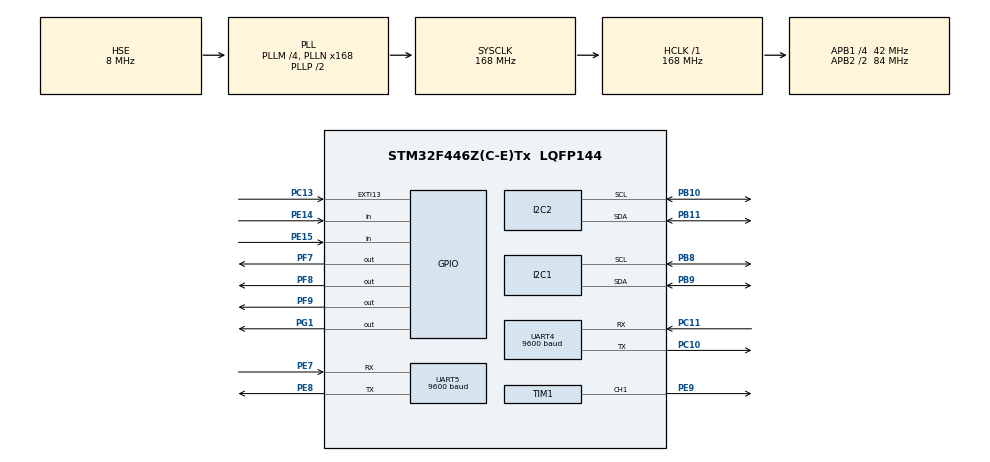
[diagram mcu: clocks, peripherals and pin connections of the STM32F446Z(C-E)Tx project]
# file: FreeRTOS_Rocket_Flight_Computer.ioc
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Dma.Request0=UART4_TX
Dma.Request1=UART5_RX
Dma.UART4_TX.0.Direction=DMA_MEMORY_TO_PERIPH
Dma.UART4_TX.0.FIFOMode=DMA_FIFOMODE_DISABLE
Dma.UART4_TX.0.Instance=DMA1_Stream4
Dma.UART4_TX.0.MemDataAlignment=DMA_MDATAALIGN_BYTE
Dma.UART4_TX.0.MemInc=DMA_MINC_ENABLE
Dma.UART4_TX.0.Mode=DMA_NORMAL
Dma.UART4_TX.0.PeriphDataAlignment=DMA_PDATAALIGN_BYTE
Dma.UART4_TX.0.PeriphInc=DMA_PINC_DISABLE
Dma.UART4_TX.0.Priority=DMA_PRIORITY_MEDIUM
Dma.UART5_RX.1.Direction=DMA_PERIPH_TO_MEMORY
Dma.UART5_RX.1.FIFOMode=DMA_FIFOMODE_DISABLE
Dma.UART5_RX.1.Instance=DMA1_Stream0
Dma.UART5_RX.1.MemDataAlignment=DMA_MDATAALIGN_BYTE
Dma.UART5_RX.1.MemInc=DMA_MINC_ENABLE
Dma.UART5_RX.1.Mode=DMA_NORMAL
Dma.UART5_RX.1.PeriphDataAlignment=DMA_PDATAALIGN_BYTE
Dma.UART5_RX.1.PeriphInc=DMA_PINC_DISABLE
Dma.UART5_RX.1.Priority=DMA_PRIORITY_MEDIUM
FREERTOS.Tasks01=defaultTask,24,128,StartDefaultTask,Default,NULL,Dynamic,NULL,NULL
FREERTOS.configUSE_NEWLIB_REENTRANT=1
IWDG.Prescaler=IWDG_PRESCALER_32
IWDG.Reload=2999
Mcu.Family=STM32F4
Mcu.Name=STM32F446Z(C-E)Tx
Mcu.Package=LQFP144
NVIC.DMA1_Stream0_IRQn=true\:5\:0\:false\:false\:true\:true\:false\:true\:true
NVIC.DMA1_Stream4_IRQn=true\:5\:0\:false\:false\:true\:true\:false\:true\:true
NVIC.EXTI15_10_IRQn=true\:5\:0\:false\:false\:true\:true\:true\:true\:true
NVIC.PriorityGroup=NVIC_PRIORITYGROUP_4
NVIC.TIM6_DAC_IRQn=true\:15\:0\:false\:false\:true\:false\:false\:true\:true
NVIC.TimeBase=TIM6_DAC_IRQn
NVIC.TimeBaseIP=TIM6
PB10.Mode=I2C
PB10.Signal=I2C2_SCL
PB11.Mode=I2C
PB11.Signal=I2C2_SDA
PB8.Mode=I2C
PB8.Signal=I2C1_SCL
PB9.Mode=I2C
PB9.Signal=I2C1_SDA
PC10.Mode=Asynchronous
PC10.Signal=UART4_TX
PC11.Mode=Asynchronous
PC11.Signal=UART4_RX
PC13.Signal=GPXTI13
PE14.Signal=GPIO_Input
PE15.Signal=GPIO_Input
PE7.Mode=Asynchronous
PE7.Signal=UART5_RX
PE8.Mode=Asynchronous
PE8.Signal=UART5_TX
PE9.Signal=S_TIM1_CH1
PF7.Signal=GPIO_Output
PF8.Signal=GPIO_Output
PF9.Signal=GPIO_Output
PG1.Signal=GPIO_Output
PH0-OSC_IN.Mode=HSE-External-Oscillator
PH0-OSC_IN.Signal=RCC_OSC_IN
PH1-OSC_OUT.Mode=HSE-External-Oscillator
PH1-OSC_OUT.Signal=RCC_OSC_OUT
ProjectManager.HeapSize=0x200
ProjectManager.StackSize=0x400
ProjectManager.TargetToolchain=STM32CubeIDE
RCC.AHBFreq_Value=168000000
RCC.APB1CLKDivider=RCC_HCLK_DIV4
RCC.APB1Freq_Value=42000000
RCC.APB1TimFreq_Value=84000000
RCC.APB2CLKDivider=RCC_HCLK_DIV2
RCC.APB2Freq_Value=84000000
RCC.APB2TimFreq_Value=168000000
RCC.CortexFreq_Value=168000000
RCC.HCLKFreq_Value=168000000
RCC.HSE_VALUE=8000000
RCC.PLLM=4
RCC.PLLN=168
RCC.PLLSourceVirtual=RCC_PLLSOURCE_HSE
RCC.SYSCLKFreq_VALUE=168000000
RCC.SYSCLKSource=RCC_SYSCLKSOURCE_PLLCLK
RCC.USBFreq_Value=168000000
RCC.VCOOutputFreq_Value=336000000
SH.S_TIM1_CH1.0=TIM1_CH1,PWM Generation1 CH1
TIM1.Channel-PWM\ Generation1\ CH1=TIM_CHANNEL_1
TIM1.Period=19999
TIM1.Prescaler=167
UART4.BaudRate=9600
UART4.VirtualMode=Asynchronous
UART5.BaudRate=9600
UART5.VirtualMode=Asynchronous
VP_FREERTOS_VS_CMSIS_V2.Mode=CMSIS_V2
VP_IWDG_VS_IWDG.Mode=IWDG_Activate
VP_SYS_VS_tim6.Mode=TIM6
board=custom

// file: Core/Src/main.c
/* USER CODE BEGIN Header */
/**
  ******************************************************************************
  * @file           : main.c
  * @brief          : Main program body
  ******************************************************************************
  * @attention
  *
  * Copyright (c) 2026 STMicroelectronics.
  * All rights reserved.
  *
  * This software is licensed under terms that can be found in the LICENSE file
  * in the root directory of this software component.
  * If no LICENSE file comes with this software, it is provided AS-IS.
  *
  ******************************************************************************
  */
/* USER CODE END Header */
#include "main.h"
#include "cmsis_os.h"

/* USER CODE BEGIN Includes */
#include "FreeRTOS.h"
#include "stdio.h"
#include "task.h"
#include "queue.h"
#include "semphr.h"
#include "string.h"
/* USER CODE END Includes */

/* USER CODE BEGIN PD */

// -----------------MPU6050------------------
#define MPU6050_ADDRESS		0x68<<1

#define MPU6050_CONFIG		0x1A
#define GYRO_CONFIG			0x1B
#define ACCEL_CONFIG		0x1C
#define ACCEL_MSB			0x3B	//	Read until 0x40 -> 48 bits for ACCEL, 6 bytes
#define TEMP_MSB			0x41	//	Read until 0x41 -> 16 bits for Temp
#define GYRO_MSB			0x43
#define RESET_ADDRESS		0x68
#define SMPRT_DIV			0x19
#define PWR_MGMT_1			0x6B

// -----------------BME280------------------
#define BME280_I2C_ADDRESS   0x76 << 1  // BME280 I2C address (SDO = GND => 0x76, SDO = VCC => 0x77)
#define BME280_REG_ID        0xD0
#define BME280_REG_RESET     0xE0
#define BME280_REG_CTRL_HUM  0xF2
#define BME280_REG_STATUS    0xF3
#define BME280_REG_CTRL_MEAS 0xF4
#define BME280_REG_CONFIG    0xF5
#define BME280_REG_PRESS_MSB 0xF7
#define BME280_REG_TEMP_MSB  0xFA
#define BME280_REG_HUM_MSB   0xFD

#define BME280_CALIB_DATA_START  0x88
#define BME280_CALIB_DATA_END    0xA1
// Calibration Rgister Adresses
#define BME280_CALIB_DATA_START  0x88
#define BME280_CALIB_DATA_END    0xA1
#define BME280_CALIB_HUM_START   0xE1

#define LORA_HEADER 0xAA
#define LORA_FOOTER 0xFF

/* USER CODE END PD */

I2C_HandleTypeDef hi2c1;
I2C_HandleTypeDef hi2c2;

IWDG_HandleTypeDef hiwdg;

TIM_HandleTypeDef htim1;

UART_HandleTypeDef huart4;
UART_HandleTypeDef huart5;
DMA_HandleTypeDef hdma_uart4_tx;
DMA_HandleTypeDef hdma_uart5_rx;

/* Definitions for defaultTask */
/*osThreadId_t defaultTaskHandle;
const osThreadAttr_t defaultTask_attributes = {
  .name = "defaultTask",
  .stack_size = 128 * 4,
  .priority = (osPriority_t) osPriorityNormal,
};*/
/* USER CODE BEGIN PV */

// -----------------MPU6050------------------
uint8_t config = 0x00;
uint8_t smprtDIV = 0x00;
uint8_t gyroConfig = 0x18;
uint8_t accelConfig = 0x18;

int16_t accelX = 0x00;
int16_t accelY = 0x00;
int16_t accelZ = 0x00;

int16_t gyroX = 0x00;
int16_t gyroY = 0x00;
int16_t gyroZ = 0x00;

uint8_t pwrMgnt1 = 0x00;

uint8_t reset = 0x07;
uint8_t address = 0;

typedef struct {
	float aX;
	float aY;
	float aZ;

	float gX;
	float gY;
	float gZ;
} IMUData_t;

// for debug live expression
float gyX;
float gyY;
float gyZ;

QueueHandle_t xIMUQueue;
//int counter = 0;
// -----------------BME280------------------
uint16_t dig_T1;
int16_t dig_T2, dig_T3;
uint16_t dig_P1;
int16_t dig_P2, dig_P3, dig_P4, dig_P5, dig_P6, dig_P7, dig_P8, dig_P9;
uint8_t dig_H1, dig_H3;
int16_t dig_H2, dig_H4, dig_H5;
int8_t dig_H6;

typedef struct {
	  float temperature, pressure;
	  uint32_t humidity;
} BMEData_t;

// for debug live expression
float temp, press;
uint32_t hum;

QueueHandle_t xBMEQueue;

uint8_t isQueueCreated;
uint8_t isControlCreated;
int bmeAddress;
HAL_StatusTypeDef status;

// -----------------LoRA Communication------------------
uint8_t setTCmd[6] = {0xC0, 0x00, 0x10, 0x1A, 0x07, 0x44};
uint8_t setRCmd[6] = {0xC0, 0x00, 0x10, 0x1A, 0x07, 0x44};

typedef struct {
	float pressure;
	float gX;
	float gY;
	float gZ;

}LoRaBuffer_t;

__attribute__((aligned(4))) LoRaBuffer_t dmaTxLoraBuffer;
__attribute__((aligned(4))) LoRaBuffer_t dmaRxLoraBuffer;

HAL_StatusTypeDef dmaRxStatus;
QueueHandle_t xLoraQueue;

float LoraPress;
float LoraGx;
float LoraGy;
float LoraGz;
BaseType_t LoraStatus;
BaseType_t LoraSendStatus;
int counter = 0;
int callbackCount = 0;

// -----------------Servo Motor Run Test------------------
TaskHandle_t servoTaskHandle;

// -----------------IWDG Task ------------------
uint8_t taskIWGD;
int refreshCount = 0;
/* USER CODE END PV */

void SystemClock_Config(void);
static void MX_GPIO_Init(void);
static void MX_DMA_Init(void);
static void MX_I2C1_Init(void);
static void MX_I2C2_Init(void);
static void MX_TIM1_Init(void);
static void MX_UART4_Init(void);
static void MX_UART5_Init(void);
static void MX_IWDG_Init(void);
void StartDefaultTask(void *argument);

/* USER CODE BEGIN PFP */
// -----------------MPU6050------------------
void MPU6050_Init(void);
void readAccelData(IMUData_t *data);
void readGyroData(IMUData_t *data);
void vIMUTask(void *pvParameters);

// -----------------BME280------------------
void BME280_Init();
void BME280_Read_Calibration();
void BME280_Read_Data(BMEData_t *bmeData);
int32_t BME280_Compensate_Temperature(int32_t adc_T);
uint32_t BME280_Compensate_Pressure(int32_t adc_P);
uint32_t BME280_Compensate_Humidity(int32_t adc_H);
void vBMETask(void *pvParameters);
void findBME(void);

// -----------------Motor------------------
void ServoInit(void);
void ServoStop(void);
void ServoRun(void);

// -----------------LoRA Communication------------------
void SleepTMs(void);
void SleepRMs(void);
void SetModuleParameters(void);
void WakeUpTMs(void);
void WakeUpRMs(void);
void WaitForAUX(GPIO_TypeDef *port, uint16_t pin);
void SendData(void);
void ReveiveData(void);
// -----------------Control Task------------------
void vControlTask(void *pvParameters);

// -----------------Telemetry Task------------------
void vTelemetryTTask(void *pvParameters);
void vTelemetryRTask(void *pvParameters);
void HAL_UART_RxCpltCallback(UART_HandleTypeDef *huart);

// -----------------EXTI Callback------------------
void HAL_GPIO_EXTI_Callback(uint16_t GPIO_Pin);
void vServoTask(void *pvParameters);
void vIWDGTask(void *pvParameters);

/* USER CODE END PFP */

int main(void)
{

  /* MCU Configuration--------------------------------------------------------*/

  /* Reset of all peripherals, Initializes the Flash interface and the Systick. */
  HAL_Init();

  /* Configure the system clock */
  SystemClock_Config();

  /* Initialize all configured peripherals */
  MX_GPIO_Init();
  MX_DMA_Init();
  MX_I2C1_Init();
  MX_I2C2_Init();
  MX_TIM1_Init();
  MX_UART4_Init();
  MX_UART5_Init();
  MX_IWDG_Init();
  /* USER CODE BEGIN 2 */
  SleepTMs();
  SleepRMs();
  //SetModuleParameters();
  WakeUpTMs();
  WakeUpRMs();
  findBME();
  HAL_Delay(100);
  BME280_Read_Calibration();
  BME280_Init();
  MPU6050_Init();
  ServoInit();

  xIMUQueue = xQueueCreate(5, sizeof(IMUData_t));
  xBMEQueue = xQueueCreate(5, sizeof(BMEData_t));
  xLoraQueue = xQueueCreate(1, sizeof(LoRaBuffer_t));

  if( xIMUQueue != NULL && xBMEQueue != NULL){
	  isQueueCreated = 1;
	  xTaskCreate(vIMUTask, "ImuTask", 1024, NULL, 3, NULL);
	  xTaskCreate(vBMETask, "BmeTask", 1024, NULL, 2, NULL);
	  xTaskCreate(vControlTask, "ControlTask", 1024, NULL, 4, NULL);
	  xTaskCreate(vTelemetryTTask, "TelemetryTTask", 1024, NULL, 2, NULL);
	  xTaskCreate(vTelemetryRTask, "TelemetryRTask", 1024, NULL, 3, NULL);
	  xTaskCreate(vServoTask, "ServoTestTask", 1024, NULL, 5, &servoTaskHandle);
	  xTaskCreate(vIWDGTask, "IWDGTask", 1024, NULL, 2, NULL);
	  HAL_IWDG_Refresh(&hiwdg);
	  vTaskStartScheduler();
  }else{
	  isQueueCreated = 0;
  }

  for(;;);

  /* USER CODE END 2 */

  /* Init scheduler */
  //osKernelInitialize();

  /* Create the thread(s) */
  /* creation of defaultTask */
  //defaultTaskHandle = osThreadNew(StartDefaultTask, NULL, &defaultTask_attributes);

  /* Start scheduler */
  //osKernelStart();

  /* We should never get here as control is now taken by the scheduler */

  /* Infinite loop */
  while (1)
  {

  }
}

void SystemClock_Config(void)
{
  RCC_OscInitTypeDef RCC_OscInitStruct = {0};
  RCC_ClkInitTypeDef RCC_ClkInitStruct = {0};

  /** Configure the main internal regulator output voltage
  */
  __HAL_RCC_PWR_CLK_ENABLE();
  __HAL_PWR_VOLTAGESCALING_CONFIG(PWR_REGULATOR_VOLTAGE_SCALE1);

  /** Initializes the RCC Oscillators according to the specified parameters
  * in the RCC_OscInitTypeDef structure.
  */
  RCC_OscInitStruct.OscillatorType = RCC_OSCILLATORTYPE_LSI|RCC_OSCILLATORTYPE_HSE;
  RCC_OscInitStruct.HSEState = RCC_HSE_ON;
  RCC_OscInitStruct.LSIState = RCC_LSI_ON;
  RCC_OscInitStruct.PLL.PLLState = RCC_PLL_ON;
  RCC_OscInitStruct.PLL.PLLSource = RCC_PLLSOURCE_HSE;
  RCC_OscInitStruct.PLL.PLLM = 4;
  RCC_OscInitStruct.PLL.PLLN = 168;
  RCC_OscInitStruct.PLL.PLLP = RCC_PLLP_DIV2;
  RCC_OscInitStruct.PLL.PLLQ = 2;
  RCC_OscInitStruct.PLL.PLLR = 2;
  if (HAL_RCC_OscConfig(&RCC_OscInitStruct) != HAL_OK)
  {
    Error_Handler();
  }

  /** Initializes the CPU, AHB and APB buses clocks
  */
  RCC_ClkInitStruct.ClockType = RCC_CLOCKTYPE_HCLK|RCC_CLOCKTYPE_SYSCLK
                              |RCC_CLOCKTYPE_PCLK1|RCC_CLOCKTYPE_PCLK2;
  RCC_ClkInitStruct.SYSCLKSource = RCC_SYSCLKSOURCE_PLLCLK;
  RCC_ClkInitStruct.AHBCLKDivider = RCC_SYSCLK_DIV1;
  RCC_ClkInitStruct.APB1CLKDivider = RCC_HCLK_DIV4;
  RCC_ClkInitStruct.APB2CLKDivider = RCC_HCLK_DIV2;

  if (HAL_RCC_ClockConfig(&RCC_ClkInitStruct, FLASH_LATENCY_5) != HAL_OK)
  {
    Error_Handler();
  }
}

static void MX_I2C1_Init(void)
{

  hi2c1.Instance = I2C1;
  hi2c1.Init.ClockSpeed = 100000;
  hi2c1.Init.DutyCycle = I2C_DUTYCYCLE_2;
  hi2c1.Init.OwnAddress1 = 0;
  hi2c1.Init.AddressingMode = I2C_ADDRESSINGMODE_7BIT;
  hi2c1.Init.DualAddressMode = I2C_DUALADDRESS_DISABLE;
  hi2c1.Init.OwnAddress2 = 0;
  hi2c1.Init.GeneralCallMode = I2C_GENERALCALL_DISABLE;
  hi2c1.Init.NoStretchMode = I2C_NOSTRETCH_DISABLE;
  if (HAL_I2C_Init(&hi2c1) != HAL_OK)
  {
    Error_Handler();
  }

}

static void MX_I2C2_Init(void)
{

  hi2c2.Instance = I2C2;
  hi2c2.Init.ClockSpeed = 100000;
  hi2c2.Init.DutyCycle = I2C_DUTYCYCLE_2;
  hi2c2.Init.OwnAddress1 = 0;
  hi2c2.Init.AddressingMode = I2C_ADDRESSINGMODE_7BIT;
  hi2c2.Init.DualAddressMode = I2C_DUALADDRESS_DISABLE;
  hi2c2.Init.OwnAddress2 = 0;
  hi2c2.Init.GeneralCallMode = I2C_GENERALCALL_DISABLE;
  hi2c2.Init.NoStretchMode = I2C_NOSTRETCH_DISABLE;
  if (HAL_I2C_Init(&hi2c2) != HAL_OK)
  {
    Error_Handler();
  }

}

static void MX_IWDG_Init(void)
{

  hiwdg.Instance = IWDG;
  hiwdg.Init.Prescaler = IWDG_PRESCALER_32;
  hiwdg.Init.Reload = 2999;
  if (HAL_IWDG_Init(&hiwdg) != HAL_OK)
  {
    Error_Handler();
  }

}

static void MX_TIM1_Init(void)
{

  TIM_MasterConfigTypeDef sMasterConfig = {0};
  TIM_OC_InitTypeDef sConfigOC = {0};
  TIM_BreakDeadTimeConfigTypeDef sBreakDeadTimeConfig = {0};

  htim1.Instance = TIM1;
  htim1.Init.Prescaler = 167;
  htim1.Init.CounterMode = TIM_COUNTERMODE_UP;
  htim1.Init.Period = 19999;
  htim1.Init.ClockDivision = TIM_CLOCKDIVISION_DIV1;
  htim1.Init.RepetitionCounter = 0;
  htim1.Init.AutoReloadPreload = TIM_AUTORELOAD_PRELOAD_DISABLE;
  if (HAL_TIM_PWM_Init(&htim1) != HAL_OK)
  {
    Error_Handler();
  }
  sMasterConfig.MasterOutputTrigger = TIM_TRGO_RESET;
  sMasterConfig.MasterSlaveMode = TIM_MASTERSLAVEMODE_DISABLE;
  if (HAL_TIMEx_MasterConfigSynchronization(&htim1, &sMasterConfig) != HAL_OK)
  {
    Error_Handler();
  }
  sConfigOC.OCMode = TIM_OCMODE_PWM1;
  sConfigOC.Pulse = 0;
  sConfigOC.OCPolarity = TIM_OCPOLARITY_HIGH;
  sConfigOC.OCNPolarity = TIM_OCNPOLARITY_HIGH;
  sConfigOC.OCFastMode = TIM_OCFAST_DISABLE;
  sConfigOC.OCIdleState = TIM_OCIDLESTATE_RESET;
  sConfigOC.OCNIdleState = TIM_OCNIDLESTATE_RESET;
  if (HAL_TIM_PWM_ConfigChannel(&htim1, &sConfigOC, TIM_CHANNEL_1) != HAL_OK)
  {
    Error_Handler();
  }
  sBreakDeadTimeConfig.OffStateRunMode = TIM_OSSR_DISABLE;
  sBreakDeadTimeConfig.OffStateIDLEMode = TIM_OSSI_DISABLE;
  sBreakDeadTimeConfig.LockLevel = TIM_LOCKLEVEL_OFF;
  sBreakDeadTimeConfig.DeadTime = 0;
  sBreakDeadTimeConfig.BreakState = TIM_BREAK_DISABLE;
  sBreakDeadTimeConfig.BreakPolarity = TIM_BREAKPOLARITY_HIGH;
  sBreakDeadTimeConfig.AutomaticOutput = TIM_AUTOMATICOUTPUT_DISABLE;
  if (HAL_TIMEx_ConfigBreakDeadTime(&htim1, &sBreakDeadTimeConfig) != HAL_OK)
  {
    Error_Handler();
  }
  HAL_TIM_MspPostInit(&htim1);

}

static void MX_UART4_Init(void)
{

  huart4.Instance = UART4;
  huart4.Init.BaudRate = 9600;
  huart4.Init.WordLength = UART_WORDLENGTH_8B;
  huart4.Init.StopBits = UART_STOPBITS_1;
  huart4.Init.Parity = UART_PARITY_NONE;
  huart4.Init.Mode = UART_MODE_TX_RX;
  huart4.Init.HwFlowCtl = UART_HWCONTROL_NONE;
  huart4.Init.OverSampling = UART_OVERSAMPLING_16;
  if (HAL_UART_Init(&huart4) != HAL_OK)
  {
    Error_Handler();
  }

}

static void MX_UART5_Init(void)
{

  huart5.Instance = UART5;
  huart5.Init.BaudRate = 9600;
  huart5.Init.WordLength = UART_WORDLENGTH_8B;
  huart5.Init.StopBits = UART_STOPBITS_1;
  huart5.Init.Parity = UART_PARITY_NONE;
  huart5.Init.Mode = UART_MODE_TX_RX;
  huart5.Init.HwFlowCtl = UART_HWCONTROL_NONE;
  huart5.Init.OverSampling = UART_OVERSAMPLING_16;
  if (HAL_UART_Init(&huart5) != HAL_OK)
  {
    Error_Handler();
  }

}

static void MX_DMA_Init(void)
{

  /* DMA controller clock enable */
  __HAL_RCC_DMA1_CLK_ENABLE();

  /* DMA interrupt init */
  /* DMA1_Stream0_IRQn interrupt configuration */
  HAL_NVIC_SetPriority(DMA1_Stream0_IRQn, 5, 0);
  HAL_NVIC_EnableIRQ(DMA1_Stream0_IRQn);
  /* DMA1_Stream4_IRQn interrupt configuration */
  HAL_NVIC_SetPriority(DMA1_Stream4_IRQn, 5, 0);
  HAL_NVIC_EnableIRQ(DMA1_Stream4_IRQn);

}

static void MX_GPIO_Init(void)
{
  GPIO_InitTypeDef GPIO_InitStruct = {0};

  /* GPIO Ports Clock Enable */
  __HAL_RCC_GPIOC_CLK_ENABLE();
  __HAL_RCC_GPIOF_CLK_ENABLE();
  __HAL_RCC_GPIOH_CLK_ENABLE();
  __HAL_RCC_GPIOG_CLK_ENABLE();
  __HAL_RCC_GPIOE_CLK_ENABLE();
  __HAL_RCC_GPIOB_CLK_ENABLE();

  /*Configure GPIO pin Output Level */
  HAL_GPIO_WritePin(GPIOF, GPIO_PIN_7|GPIO_PIN_8|GPIO_PIN_9, GPIO_PIN_RESET);

  /*Configure GPIO pin Output Level */
  HAL_GPIO_WritePin(GPIOG, GPIO_PIN_1, GPIO_PIN_RESET);

  /*Configure GPIO pin : PC13 */
  GPIO_InitStruct.Pin = GPIO_PIN_13;
  GPIO_InitStruct.Mode = GPIO_MODE_IT_RISING;
  GPIO_InitStruct.Pull = GPIO_NOPULL;
  HAL_GPIO_Init(GPIOC, &GPIO_InitStruct);

  /*Configure GPIO pins : PF7 PF8 PF9 */
  GPIO_InitStruct.Pin = GPIO_PIN_7|GPIO_PIN_8|GPIO_PIN_9;
  GPIO_InitStruct.Mode = GPIO_MODE_OUTPUT_PP;
  GPIO_InitStruct.Pull = GPIO_NOPULL;
  GPIO_InitStruct.Speed = GPIO_SPEED_FREQ_LOW;
  HAL_GPIO_Init(GPIOF, &GPIO_InitStruct);

  /*Configure GPIO pin : PG1 */
  GPIO_InitStruct.Pin = GPIO_PIN_1;
  GPIO_InitStruct.Mode = GPIO_MODE_OUTPUT_PP;
  GPIO_InitStruct.Pull = GPIO_NOPULL;
  GPIO_InitStruct.Speed = GPIO_SPEED_FREQ_LOW;
  HAL_GPIO_Init(GPIOG, &GPIO_InitStruct);

  /*Configure GPIO pins : PE14 PE15 */
  GPIO_InitStruct.Pin = GPIO_PIN_14|GPIO_PIN_15;
  GPIO_InitStruct.Mode = GPIO_MODE_INPUT;
  GPIO_InitStruct.Pull = GPIO_NOPULL;
  HAL_GPIO_Init(GPIOE, &GPIO_InitStruct);

  /* EXTI interrupt init*/
  HAL_NVIC_SetPriority(EXTI15_10_IRQn, 5, 0);
  HAL_NVIC_EnableIRQ(EXTI15_10_IRQn);

}

/* USER CODE BEGIN 4 */

// -----------------MPU6050------------------

void MPU6050_Init(void){

	HAL_I2C_Mem_Write(&hi2c1, MPU6050_ADDRESS, PWR_MGMT_1, 1, &pwrMgnt1, 1, HAL_MAX_DELAY);

	HAL_I2C_Mem_Write(&hi2c1, MPU6050_ADDRESS, RESET_ADDRESS, 1, &reset, 1, HAL_MAX_DELAY);

	HAL_I2C_Mem_Write(&hi2c1, MPU6050_ADDRESS, SMPRT_DIV, 1, &smprtDIV, 1, HAL_MAX_DELAY);

	HAL_I2C_Mem_Write(&hi2c1, MPU6050_ADDRESS, MPU6050_CONFIG, 1, &config, 1, HAL_MAX_DELAY);

	HAL_I2C_Mem_Write(&hi2c1, MPU6050_ADDRESS, ACCEL_CONFIG, 1, &accelConfig, 1, HAL_MAX_DELAY);

	HAL_I2C_Mem_Write(&hi2c1, MPU6050_ADDRESS, GYRO_CONFIG, 1, &gyroConfig, 1, HAL_MAX_DELAY);

}

void readAccelData(IMUData_t *data){
	uint8_t accelData[6];

	HAL_I2C_Mem_Read(&hi2c1, MPU6050_ADDRESS, ACCEL_MSB, 1, accelData, 6, HAL_MAX_DELAY);

	accelX = ((int16_t)accelData[0] << 8) | (int16_t)accelData[1];
	accelY = ((int16_t)accelData[2] << 8) | (int16_t)accelData[3];
	accelZ = ((int16_t)accelData[4] << 8) | (int16_t)accelData[5];

	data->aX = (float)accelX/2048.0;
	data->aY = (float)accelY/2048.0;
	data->aZ = (float)accelZ/2048.0;

}

void readGyroData(IMUData_t *data){
	uint8_t gyroData[6];

	HAL_I2C_Mem_Read(&hi2c1, MPU6050_ADDRESS, GYRO_MSB, 1, gyroData, 6, HAL_MAX_DELAY);

	gyroX = ((int16_t)gyroData[0] << 8) | (int16_t)gyroData[1];
	gyroY = ((int16_t)gyroData[2] << 8) | (int16_t)gyroData[3];
	gyroZ = ((int16_t)gyroData[4] << 8) | (int16_t)gyroData[5];

	data->gX = (float)gyroX/16.4;
	data->gY = (float)gyroY/16.4;
	data->gZ = (float)gyroZ/16.4;

}

void vIMUTask(void *pvParameters){
	TickType_t lastWakeTime = xTaskGetTickCount();
	IMUData_t data;
	BaseType_t xStatus;

	for(;;){
		readAccelData(&data);
		readGyroData(&data);
		xStatus = xQueueSend(xIMUQueue, &data, 50);

		if(xStatus == pdPASS){
			// I turn on led to warning
			taskIWGD |= 0x01;
			vTaskDelayUntil(&lastWakeTime, pdMS_TO_TICKS(50));
		}
	}

}

// -----------------BME280------------------
void BME280_Init() {
    uint8_t id;
    HAL_I2C_Mem_Read(&hi2c2, BME280_I2C_ADDRESS, BME280_REG_ID, 1, &id, 1, HAL_MAX_DELAY);
    if (id != 0x60) {
        printf("BME280 Could not find!\n");
    }

    uint8_t reset_cmd = 0xB6;
    HAL_I2C_Mem_Write(&hi2c2, BME280_I2C_ADDRESS, BME280_REG_RESET, 1, &reset_cmd, 1, HAL_MAX_DELAY);
    HAL_Delay(100);

    uint8_t filter = 0xA4;
    HAL_I2C_Mem_Write(&hi2c2, BME280_I2C_ADDRESS, BME280_REG_CONFIG, 1, &filter, 1, HAL_MAX_DELAY);

    BME280_Read_Calibration();
    HAL_Delay(100);
    uint8_t ctrl_hum = 0x01;
    HAL_I2C_Mem_Write(&hi2c2, BME280_I2C_ADDRESS, BME280_REG_CTRL_HUM, 1, &ctrl_hum, 1, HAL_MAX_DELAY);

    uint8_t ctrl_meas = 0x67;
    HAL_I2C_Mem_Write(&hi2c2, BME280_I2C_ADDRESS, BME280_REG_CTRL_MEAS, 1, &ctrl_meas, 1, HAL_MAX_DELAY);
}

void BME280_Read_Calibration() {
    uint8_t calib_data[26];
    status=HAL_I2C_Mem_Read(&hi2c2, BME280_I2C_ADDRESS, BME280_CALIB_DATA_START, 1, calib_data, 26, HAL_MAX_DELAY);

    if(status != HAL_OK){

        return;
    }
    dig_T1 = (calib_data[1] << 8) | calib_data[0];
    dig_T2 = (calib_data[3] << 8) | calib_data[2];
    dig_T3 = (calib_data[5] << 8) | calib_data[4];

    dig_P1 = (calib_data[7] << 8) | calib_data[6];
    dig_P2 = (calib_data[9] << 8) | calib_data[8];
    dig_P3 = (calib_data[11] << 8) | calib_data[10];
    dig_P4 = (calib_data[13] << 8) | calib_data[12];
    dig_P5 = (calib_data[15] << 8) | calib_data[14];
    dig_P6 = (calib_data[17] << 8) | calib_data[16];
    dig_P7 = (calib_data[19] << 8) | calib_data[18];
    dig_P8 = (calib_data[21] << 8) | calib_data[20];
    dig_P9 = (calib_data[23] << 8) | calib_data[22];

    uint8_t hum_data[7];
    HAL_I2C_Mem_Read(&hi2c2, BME280_I2C_ADDRESS, BME280_CALIB_HUM_START, 1, hum_data, 7, HAL_MAX_DELAY);

    dig_H1 = hum_data[0];
    dig_H2 = (hum_data[2] << 8) | hum_data[1];
    dig_H3 = hum_data[3];
    dig_H4 = (hum_data[4] << 4) | (hum_data[5] & 0x0F);
    dig_H5 = (hum_data[6] << 4) | (hum_data[5] >> 4);
    dig_H6 = hum_data[6];
}

void BME280_Read_Data(BMEData_t *bmeData) {
    uint8_t data[8];
    HAL_I2C_Mem_Read(&hi2c2, BME280_I2C_ADDRESS, BME280_REG_PRESS_MSB, 1, data, 8, HAL_MAX_DELAY);

    int32_t adc_P = ((uint32_t)data[0] << 12) | ((uint32_t)data[1] << 4) | ((uint32_t)data[2] >> 4);
    int32_t adc_T = ((uint32_t)data[3] << 12) | ((uint32_t)data[4] << 4) | ((uint32_t)data[5] >> 4);
    int32_t adc_H = ((uint32_t)data[6] << 8) | (uint32_t)data[7];

    bmeData->temperature = (float)BME280_Compensate_Temperature(adc_T) / 100.0f;
    bmeData->pressure = (float)BME280_Compensate_Pressure(adc_P) / 256.0f / 100.0f;
    bmeData->humidity = BME280_Compensate_Humidity(adc_H);

}

int32_t BME280_Compensate_Temperature(int32_t adc_T) {
    int32_t var1, var2, T;
    var1 = ((((adc_T >> 3) - ((int32_t)dig_T1 << 1))) * ((int32_t)dig_T2)) >> 11;
    var2 = (((((adc_T >> 4) - ((int32_t)dig_T1)) * ((adc_T >> 4) - ((int32_t)dig_T1))) >> 12) * ((int32_t)dig_T3)) >> 14;
    T = (((var1 + var2) * 5) + 128) >> 8;
    return T;
}

uint32_t BME280_Compensate_Pressure(int32_t adc_P) {
    int64_t var1, var2, p;
    var1 = ((int64_t)adc_P) - 128000;
    var2 = var1 * var1 * (int64_t)dig_P6;
    var2 = var2 + ((var1 * (int64_t)dig_P5) << 17);
    var2 = var2 + (((int64_t)dig_P4) << 35);
    var1 = ((var1 * var1 * (int64_t)dig_P3) >> 8) + ((var1 * (int64_t)dig_P2) << 12);
    var1 = (((((int64_t)1) << 47) + var1) * ((int64_t)dig_P1)) >> 33;
    if (var1 == 0) return 0;
    p = 1048576 - adc_P;
    p = (((p << 31) - var2) * 3125) / var1;
    var1 = (((int64_t)dig_P9) * (p >> 13) * (p >> 13)) >> 25;
    var2 = (((int64_t)dig_P8) * p) >> 19;
    p = ((p + var1 + var2) >> 8) + (((int64_t)dig_P7) << 4);
    return (uint32_t)p;
}

uint32_t BME280_Compensate_Humidity(int32_t adc_H) {
    return adc_H;
}

void vBMETask(void *pvParameters){
	TickType_t lastWakeTime = xTaskGetTickCount();
	BMEData_t data;
	BaseType_t xStatus;

	for(;;){
		BME280_Read_Data(&data);
		xStatus = xQueueSend(xBMEQueue, &data, 0);

		if(xStatus == pdPASS){
			// I turn on led to warning
			taskIWGD |= 0x02;
			vTaskDelayUntil(&lastWakeTime, pdMS_TO_TICKS(57));
		}
	}
}

void findBME(void){
    for(int i = 0; i <= 255; i++){
        if(HAL_I2C_IsDeviceReady(&hi2c2, i, 1, 10) == HAL_OK){
            bmeAddress = i;
            HAL_Delay(50);
        }
    }
}

// -----------------Motor-----------------

void ServoInit(void){
	HAL_TIM_PWM_Start(&htim1, TIM_CHANNEL_1);
}

void ServoStop(void){
	TIM1->CCR1 = 1500;
}

void ServoRun(void){
	TIM1->CCR1 = 2000;
}

// -----------------Control Task------------------
void vControlTask(void *pvParameters){
	TickType_t lastWakeTime = xTaskGetTickCount();
	BaseType_t xImuStatus;
	BaseType_t xBmeStatus;
	IMUData_t imuData;
	BMEData_t bmeData;
	LoRaBuffer_t loraBuffer;
	float prevPressure = 0;
	isControlCreated=0;

	for(;;){
		xImuStatus = xQueueReceive(xIMUQueue, &imuData, 100);
		xBmeStatus = xQueueReceive(xBMEQueue, &bmeData, 200);
		isControlCreated=2;

		if(xImuStatus && xBmeStatus){
			gyX = imuData.gX;
			gyY = imuData.gY;
			gyZ = imuData.gZ;

			temp = bmeData.temperature;
			press = bmeData.pressure;
			hum = bmeData.humidity;
			isControlCreated=1;
			if((press-prevPressure) <= -5.00){
				xTaskNotify(servoTaskHandle, 0, eNoAction);
			}

			prevPressure = press;

			loraBuffer.gX = imuData.gX;
			loraBuffer.gY = imuData.gY;
			loraBuffer.gZ = imuData.gZ;
			loraBuffer.pressure = bmeData.pressure;

			LoraSendStatus = xQueueOverwrite(xLoraQueue, &loraBuffer);
			taskIWGD |= 0x04;

			vTaskDelayUntil(&lastWakeTime, pdMS_TO_TICKS(100));

		}
	}
}

// -----------------LoRA Communication------------------
void SleepTMs(void){
	HAL_GPIO_WritePin(GPIOG, GPIO_PIN_1, GPIO_PIN_SET);
	HAL_GPIO_WritePin(GPIOF, GPIO_PIN_9, GPIO_PIN_SET);
	HAL_Delay(50);
}

void SleepRMs(void){
	HAL_GPIO_WritePin(GPIOF, GPIO_PIN_7, GPIO_PIN_SET);
	HAL_GPIO_WritePin(GPIOF, GPIO_PIN_8, GPIO_PIN_SET);
	HAL_Delay(50);
}

void WakeUpTMs(void){
	HAL_GPIO_WritePin(GPIOG, GPIO_PIN_1, GPIO_PIN_RESET);
	HAL_GPIO_WritePin(GPIOF, GPIO_PIN_9, GPIO_PIN_RESET);
	HAL_Delay(50);
}

void WakeUpRMs(void){
	HAL_GPIO_WritePin(GPIOF, GPIO_PIN_7, GPIO_PIN_RESET);
	HAL_GPIO_WritePin(GPIOF, GPIO_PIN_8, GPIO_PIN_RESET);
	HAL_Delay(50);
}

void WaitForAUX(GPIO_TypeDef *port, uint16_t pin){

	while(HAL_GPIO_ReadPin(port, pin) == GPIO_PIN_RESET){
		vTaskDelay(pdMS_TO_TICKS(1));
	}

}

void SendData(void){
	counter++;
    HAL_UART_DMAStop(&huart4);
    __HAL_UART_CLEAR_FLAG(&huart4, UART_FLAG_TC);
    huart4.gState = HAL_UART_STATE_READY;
    HAL_UART_Transmit_DMA(&huart4, (uint8_t*)&dmaTxLoraBuffer, sizeof(LoRaBuffer_t));
    vTaskDelay(pdMS_TO_TICKS(200));
}

void ReceiveData(void){
	callbackCount++;
    HAL_UART_DMAStop(&huart5);
    dmaRxStatus = HAL_UART_Receive_DMA(&huart5, (uint8_t*)&dmaRxLoraBuffer, sizeof(LoRaBuffer_t));

    while(HAL_UART_GetState(&huart5) != HAL_UART_STATE_READY){
        vTaskDelay(pdMS_TO_TICKS(10));
    }

    LoraGx = dmaRxLoraBuffer.gX;
    LoraGy = dmaRxLoraBuffer.gY;
    LoraGz = dmaRxLoraBuffer.gZ;
    LoraPress = dmaRxLoraBuffer.pressure;
    vTaskDelay(pdMS_TO_TICKS(200));
}

void SetModuleParameters(void) {

    HAL_UART_Transmit(&huart4, setTCmd, 6, 100);
    HAL_Delay(50);
    HAL_UART_Transmit(&huart5, setRCmd, 6, 100);
    HAL_Delay(50);
}

// -----------------Telemetry Task------------------
void vTelemetryTTask(void *pvParameters){
	for(;;){
		LoraStatus = xQueueReceive(xLoraQueue, &dmaTxLoraBuffer, pdMS_TO_TICKS(500));

		if(LoraStatus){
			SendData();
			taskIWGD |= 0x08;
			vTaskDelay(pdMS_TO_TICKS(200));
		}

	}
}

void vTelemetryRTask(void *pvParameters){
    for(;;){
    	ReceiveData();
    	taskIWGD |= 0x10;
    	vTaskDelay(pdMS_TO_TICKS(200));
    }
}

// -----------------Servo Motor Test Task------------------
void HAL_GPIO_EXTI_Callback(uint16_t GPIO_Pin){
	if(GPIO_Pin == GPIO_PIN_13){
		BaseType_t woken = pdFALSE;
		vTaskNotifyGiveFromISR(servoTaskHandle, &woken);
		portYIELD_FROM_ISR(woken);
	}
}

void vServoTask(void *pvParameters){
	for(;;){
		ulTaskNotifyTake(pdTRUE, portMAX_DELAY);
		ServoRun();
		vTaskDelay(pdMS_TO_TICKS(1000));
		ServoStop();
	}
}

// -----------------IWDG Task------------------
void vIWDGTask(void *pvParameters){
    for(;;){
    	if(taskIWGD == 0x1F){

            taskIWGD = 0;
            HAL_IWDG_Refresh(&hiwdg);
            refreshCount++;

    	}
    	vTaskDelay(pdMS_TO_TICKS(1000));
    }
}

/* USER CODE END 4 */

void StartDefaultTask(void *argument)
{
  for(;;)
  {
    osDelay(1);
  }
}

void HAL_TIM_PeriodElapsedCallback(TIM_HandleTypeDef *htim)
{
  if (htim->Instance == TIM6)
  {
    HAL_IncTick();
  }
}

void Error_Handler(void)
{
  __disable_irq();
  while (1)
  {
  }
}
